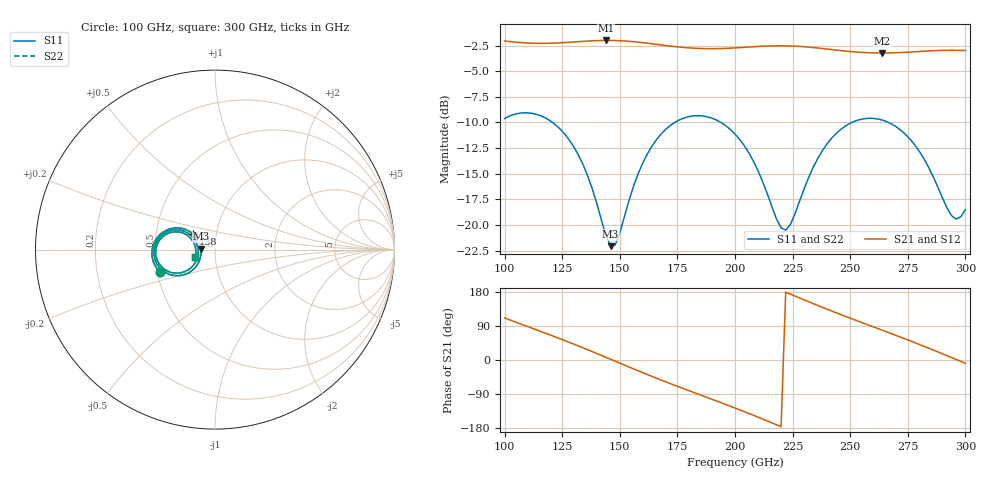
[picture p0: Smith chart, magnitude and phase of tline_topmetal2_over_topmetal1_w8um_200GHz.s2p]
#  GHZ S DB R 50
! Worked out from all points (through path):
!   101 points, 100 GHz to 300 GHz, reference 50 ohm
!   highest |S21| = -2.01 dB at 144 GHz (marker M1); lowest = -3.2 dB at 264 GHz (marker M2)
!   group delay of S21, straight-line fit = 6.68 ps
!   lowest |S11| = -22.1 dB at 146 GHz (marker M3), VSWR 1.17, Z = 42.7 + j0.417 ohm
!   |S11| at or under -10 dB: 120.8 GHz to 173.8 GHz (53.07 GHz wide, 36 % of centre); 193.9 GHz to 250.7 GHz (56.84 GHz wide, 25.6 % of centre); 266.6 GHz to end of sweep
!   |S22| runs from -22.0 to -9.1 dB; largest |S21 - S12| = 8.3e-14
!   S11 on the Smith chart (normalised r, x): 100 GHz: 0.52, -0.15; 138 GHz: 0.77, +0.14; 300 GHz: 0.80, -0.07
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100  -9.61 -157.5  -2.06 111.0  -2.06 111.0  -9.61 -157.6
108  -9.06 -172.6  -2.23 92.7  -2.23 92.7  -9.06 -172.6
118  -9.59 169.2  -2.29 70.0  -2.29 70.0  -9.59 169.2
134  -14.08 145.5  -2.10 32.2  -2.10 32.2  -14.08 145.5
138  -16.43 144.6  -2.05 22.3  -2.05 22.3  -16.43 144.6
144  -21.04 161.5  -2.01 7.1  -2.01 7.1  -21.03 161.4
146  -22.06 176.5  -2.01 2.0  -2.01 2.0  -22.05 176.4
150  -20.77 -152.2  -2.03 -8.2  -2.03 -8.2  -20.76 -152.2
156  -16.20 -137.5  -2.13 -23.5  -2.13 -23.5  -16.20 -137.6
168  -11.11 -149.2  -2.45 -53.1  -2.45 -53.1  -11.11 -149.2
184  -9.33 -176.0  -2.78 -90.1  -2.78 -90.1  -9.34 -176.1
200  -11.13 158.3  -2.73 -126.8  -2.73 -126.8  -11.14 158.1
212  -15.77 149.1  -2.57 -155.8  -2.57 -155.8  -15.79 148.9
222  -20.49 -174.3  -2.53 179.0  -2.53 179.0  -20.58 -174.2
234  -14.34 -143.2  -2.70 148.7  -2.70 148.7  -14.36 -142.9
248  -10.33 -159.4  -3.04 115.1  -3.04 115.1  -10.34 -159.2
264  -9.77 175.4  -3.23 78.4  -3.23 78.4  -9.78 175.5
268  -10.15 169.3  -3.22 69.2  -3.22 69.2  -10.15 169.4
278  -12.18 156.3  -3.11 45.8  -3.11 45.8  -12.19 156.3
286  -15.28 152.9  -3.01 26.4  -3.01 26.4  -15.30 152.8
294  -19.08 172.0  -2.96 6.4  -2.96 6.4  -19.14 172.1
300  -18.49 -158.9  -2.99 -8.8  -2.99 -8.8  -18.54 -158.6
